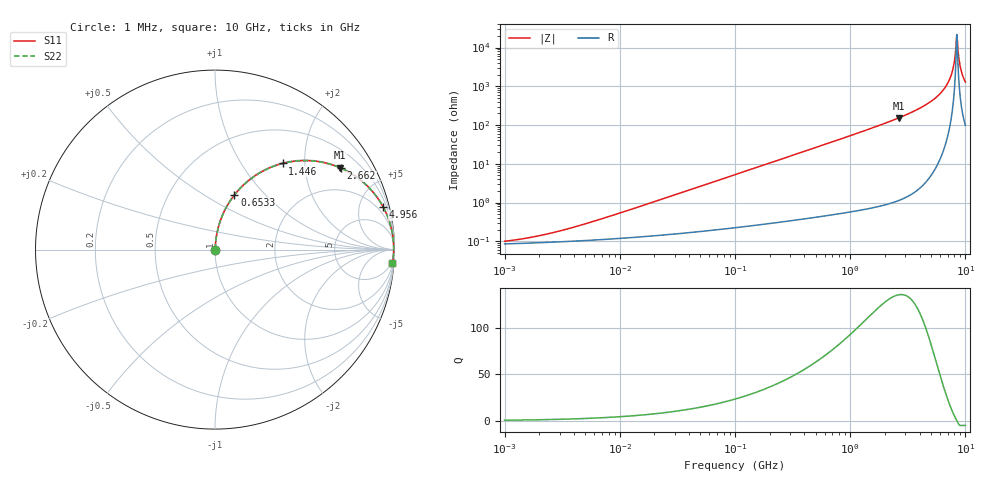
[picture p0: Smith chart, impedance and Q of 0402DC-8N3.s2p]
# MHz  S  MA  R  50
!Freq  MagS11  AngS11  MagS21  AngS21  MagS12  AngS12  MagS22  AngS22
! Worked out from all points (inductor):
!   801 points, 1 MHz to 10 GHz, reference 50 ohm
!   read as one part in series: L = 8.3 nH near 6.238 MHz
!   highest Q = 136 at 2.631 GHz (marker M1), where L = 9.2 nH
!   self-resonance near 8.418 GHz
!   S11 on the Smith chart (normalised r, x): 1 MHz: 1.00, +0.00; 653.3 MHz: 1.01, +0.69; 1.446 GHz: 1.01, +1.55; 2.662 GHz: 1.02, +3.08; 4.956 GHz: 1.09, +7.90; 10 GHz: 3, -26
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1  0.0009989 31.4  0.9991 -0.0  0.9991 -0.0  0.0009989 31.4
2.06545  0.001415 49.4  0.9991 -0.1  0.9991 -0.1  0.001415 49.4
4.67769  0.002646 67.0  0.999 -0.1  0.999 -0.1  0.002646 67.0
21.6303  0.01135 82.2  0.9985 -0.6  0.9985 -0.6  0.01135 82.2
100.0216  0.05203 84.6  0.9964 -3.0  0.9964 -3.0  0.05203 84.6
467.8699  0.2369 75.4  0.9677 -13.7  0.9677 -13.7  0.2369 75.4
653.329  0.3229 70.4  0.942 -18.8  0.942 -18.8  0.3229 70.4
1445.933  0.6109 51.8  0.7863 -37.7  0.7863 -37.7  0.6109 51.8
2163.497  0.7674 39.4  0.6353 -50.1  0.6353 -50.1  0.7674 39.4
2631.239  0.8327 33.2  0.5477 -56.4  0.5477 -56.4  0.8327 33.2
2661.709  0.8362 32.8  0.5423 -56.7  0.5423 -56.7  0.8362 32.8
4956.478  0.9667 14.2  0.2447 -75.2  0.2447 -75.2  0.9667 14.2
6097.859  0.9859 8.5  0.1479 -80.3  0.1479 -80.3  0.9859 8.5
7082.399  0.9932 4.5  0.07924 -82.8  0.07924 -82.8  0.9932 4.5
7676.832  0.9951 2.4  0.04268 -82.2  0.04268 -82.2  0.9951 2.4
7855.657  0.9954 1.8  0.03231 -80.8  0.03231 -80.8  0.9954 1.8
8131.735  0.9956 0.9  0.01695 -74.3  0.01695 -74.3  0.9956 0.9
8417.515  0.9955 0.0  0.004589 -9.4  0.004589 -9.4  0.9955 0.0
8713.339  0.9951 -0.9  0.01562 71.4  0.01562 71.4  0.9951 -0.9
9019.56  0.9945 -1.7  0.03091 78.9  0.03091 78.9  0.9945 -1.7
9336.542  0.9936 -2.6  0.04644 80.8  0.04644 80.8  0.9936 -2.6
10000  0.9911 -4.4  0.07747 81.2  0.07747 81.2  0.9911 -4.4
